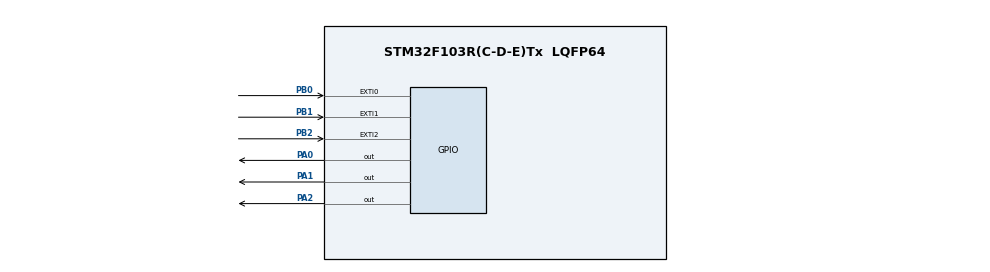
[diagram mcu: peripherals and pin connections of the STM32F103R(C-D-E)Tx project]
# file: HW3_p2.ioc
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Mcu.Family=STM32F1
Mcu.Name=STM32F103R(C-D-E)Tx
Mcu.Package=LQFP64
NVIC.EXTI0_IRQn=true\:0\:0\:false\:false\:true\:true\:true\:true
NVIC.EXTI1_IRQn=true\:0\:0\:false\:false\:true\:true\:true\:true
NVIC.EXTI2_IRQn=true\:0\:0\:false\:false\:true\:true\:true\:true
NVIC.PriorityGroup=NVIC_PRIORITYGROUP_4
PA0-WKUP.Signal=GPIO_Output
PA1.Signal=GPIO_Output
PA13.Mode=Serial_Wire
PA13.Signal=SYS_JTMS-SWDIO
PA14.Mode=Serial_Wire
PA14.Signal=SYS_JTCK-SWCLK
PA2.Signal=GPIO_Output
PB0.GPIO_ModeDefaultEXTI=GPIO_MODE_IT_FALLING
PB0.GPIO_PuPd=GPIO_PULLUP
PB0.Signal=GPXTI0
PB1.GPIO_ModeDefaultEXTI=GPIO_MODE_IT_FALLING
PB1.GPIO_PuPd=GPIO_PULLUP
PB1.Signal=GPXTI1
PB2.GPIO_ModeDefaultEXTI=GPIO_MODE_IT_FALLING
PB2.GPIO_PuPd=GPIO_PULLUP
PB2.Signal=GPXTI2
PD0-OSC_IN.Mode=HSE-External-Oscillator
PD0-OSC_IN.Signal=RCC_OSC_IN
PD1-OSC_OUT.Mode=HSE-External-Oscillator
PD1-OSC_OUT.Signal=RCC_OSC_OUT
ProjectManager.HeapSize=0x200
ProjectManager.StackSize=0x400
ProjectManager.TargetToolchain=MDK-ARM V5.32
RCC.APB1Freq_Value=8000000
RCC.APB2Freq_Value=8000000
board=custom

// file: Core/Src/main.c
/* USER CODE BEGIN Header */
/**
  ******************************************************************************
  * @file           : main.c
  * @brief          : Main program body
  ******************************************************************************
  * @attention
  *
  * Copyright (c) 2026 STMicroelectronics.
  * All rights reserved.
  *
  * This software is licensed under terms that can be found in the LICENSE file
  * in the root directory of this software component.
  * If no LICENSE file comes with this software, it is provided AS-IS.
  *
  ******************************************************************************
  */
/* USER CODE END Header */
#include "main.h"

/* USER CODE BEGIN PD */
#define BUTTON1_PIN   GPIO_PIN_0
#define BUTTON2_PIN   GPIO_PIN_1
#define BUTTON3_PIN   GPIO_PIN_2
#define BUTTON_PORT   GPIOB

#define LED1_PIN      GPIO_PIN_0
#define LED2_PIN      GPIO_PIN_1
#define LED3_PIN      GPIO_PIN_2
#define LED_PORT      GPIOA
/* USER CODE END PD */

/* USER CODE BEGIN PV */
volatile uint8_t winner = 0;  // 0 = no winner, 1/2/3 = player who pressed first
/* USER CODE END PV */

void SystemClock_Config(void);
static void MX_GPIO_Init(void);

/* USER CODE BEGIN 0 */
void HAL_GPIO_EXTI_Callback(uint16_t GPIO_Pin)
{
    if (winner == 0)
    {
        if (GPIO_Pin == BUTTON1_PIN)
        {
            winner = 1;
            HAL_GPIO_WritePin(LED_PORT, LED1_PIN, GPIO_PIN_SET);
            HAL_GPIO_WritePin(LED_PORT, LED2_PIN | LED3_PIN, GPIO_PIN_RESET);
        }
        else if (GPIO_Pin == BUTTON2_PIN)
        {
            winner = 2;
            HAL_GPIO_WritePin(LED_PORT, LED2_PIN, GPIO_PIN_SET);
            HAL_GPIO_WritePin(LED_PORT, LED1_PIN | LED3_PIN, GPIO_PIN_RESET);
        }
        else if (GPIO_Pin == BUTTON3_PIN)
        {
            winner = 3;
            HAL_GPIO_WritePin(LED_PORT, LED3_PIN, GPIO_PIN_SET);
            HAL_GPIO_WritePin(LED_PORT, LED1_PIN | LED2_PIN, GPIO_PIN_RESET);
        }
    }
}

/* USER CODE END 0 */

int main(void)
{

  /* MCU Configuration--------------------------------------------------------*/

  /* Reset of all peripherals, Initializes the Flash interface and the Systick. */
  HAL_Init();

  /* Configure the system clock */
  SystemClock_Config();

  /* Initialize all configured peripherals */
  MX_GPIO_Init();
  /* USER CODE BEGIN 2 */
    HAL_GPIO_WritePin(LED_PORT, LED1_PIN | LED2_PIN | LED3_PIN, GPIO_PIN_RESET);

  /* USER CODE END 2 */

  /* Infinite loop */
  while (1)
  {

    /* USER CODE BEGIN 3 */
		 if (winner != 0)
		{
				uint8_t btn1 = HAL_GPIO_ReadPin(BUTTON_PORT, BUTTON1_PIN);
				uint8_t btn2 = HAL_GPIO_ReadPin(BUTTON_PORT, BUTTON2_PIN);
				uint8_t btn3 = HAL_GPIO_ReadPin(BUTTON_PORT, BUTTON3_PIN);

				if (btn1 == GPIO_PIN_SET && btn2 == GPIO_PIN_SET && btn3 == GPIO_PIN_SET)
				{
						winner = 0;
						HAL_GPIO_WritePin(LED_PORT, LED1_PIN | LED2_PIN | LED3_PIN, GPIO_PIN_RESET);
				}
		}
		HAL_Delay(10);
  }
  /* USER CODE END 3 */
}

void SystemClock_Config(void)
{
  RCC_OscInitTypeDef RCC_OscInitStruct = {0};
  RCC_ClkInitTypeDef RCC_ClkInitStruct = {0};

  /** Initializes the RCC Oscillators according to the specified parameters
  * in the RCC_OscInitTypeDef structure.
  */
  RCC_OscInitStruct.OscillatorType = RCC_OSCILLATORTYPE_HSI;
  RCC_OscInitStruct.HSIState = RCC_HSI_ON;
  RCC_OscInitStruct.HSICalibrationValue = RCC_HSICALIBRATION_DEFAULT;
  RCC_OscInitStruct.PLL.PLLState = RCC_PLL_NONE;
  if (HAL_RCC_OscConfig(&RCC_OscInitStruct) != HAL_OK)
  {
    Error_Handler();
  }

  /** Initializes the CPU, AHB and APB buses clocks
  */
  RCC_ClkInitStruct.ClockType = RCC_CLOCKTYPE_HCLK|RCC_CLOCKTYPE_SYSCLK
                              |RCC_CLOCKTYPE_PCLK1|RCC_CLOCKTYPE_PCLK2;
  RCC_ClkInitStruct.SYSCLKSource = RCC_SYSCLKSOURCE_HSI;
  RCC_ClkInitStruct.AHBCLKDivider = RCC_SYSCLK_DIV1;
  RCC_ClkInitStruct.APB1CLKDivider = RCC_HCLK_DIV1;
  RCC_ClkInitStruct.APB2CLKDivider = RCC_HCLK_DIV1;

  if (HAL_RCC_ClockConfig(&RCC_ClkInitStruct, FLASH_LATENCY_0) != HAL_OK)
  {
    Error_Handler();
  }
}

static void MX_GPIO_Init(void)
{
  GPIO_InitTypeDef GPIO_InitStruct = {0};

  /* GPIO Ports Clock Enable */
  __HAL_RCC_GPIOD_CLK_ENABLE();
  __HAL_RCC_GPIOA_CLK_ENABLE();
  __HAL_RCC_GPIOB_CLK_ENABLE();

  /*Configure GPIO pin Output Level */
  HAL_GPIO_WritePin(GPIOA, GPIO_PIN_0|GPIO_PIN_1|GPIO_PIN_2, GPIO_PIN_RESET);

  /*Configure GPIO pins : PA0 PA1 PA2 */
  GPIO_InitStruct.Pin = GPIO_PIN_0|GPIO_PIN_1|GPIO_PIN_2;
  GPIO_InitStruct.Mode = GPIO_MODE_OUTPUT_PP;
  GPIO_InitStruct.Pull = GPIO_NOPULL;
  GPIO_InitStruct.Speed = GPIO_SPEED_FREQ_LOW;
  HAL_GPIO_Init(GPIOA, &GPIO_InitStruct);

  /*Configure GPIO pins : PB0 PB1 PB2 */
  GPIO_InitStruct.Pin = GPIO_PIN_0|GPIO_PIN_1|GPIO_PIN_2;
  GPIO_InitStruct.Mode = GPIO_MODE_IT_FALLING;
  GPIO_InitStruct.Pull = GPIO_PULLUP;
  HAL_GPIO_Init(GPIOB, &GPIO_InitStruct);

  /* EXTI interrupt init*/
  HAL_NVIC_SetPriority(EXTI0_IRQn, 0, 0);
  HAL_NVIC_EnableIRQ(EXTI0_IRQn);

  HAL_NVIC_SetPriority(EXTI1_IRQn, 0, 0);
  HAL_NVIC_EnableIRQ(EXTI1_IRQn);

  HAL_NVIC_SetPriority(EXTI2_IRQn, 0, 0);
  HAL_NVIC_EnableIRQ(EXTI2_IRQn);

}

void Error_Handler(void)
{
  __disable_irq();
  while (1)
  {
  }
}
